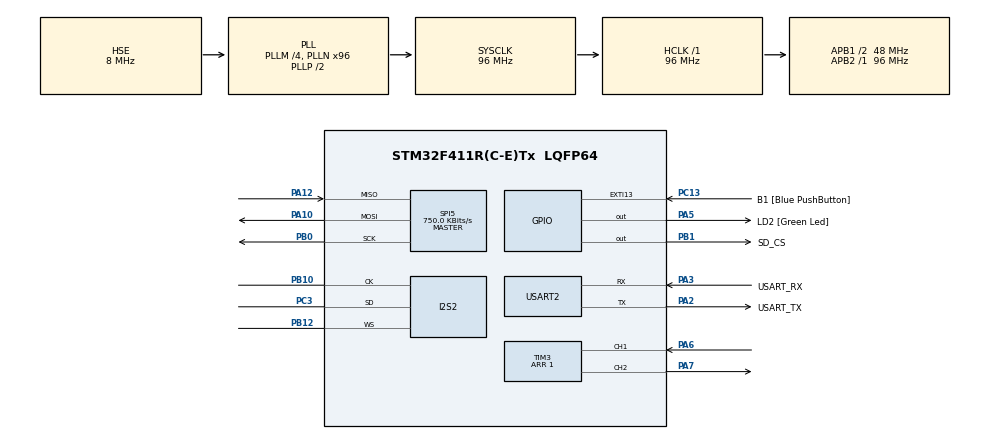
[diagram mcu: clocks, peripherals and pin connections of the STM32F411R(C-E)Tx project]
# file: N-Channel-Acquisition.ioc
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Dma.Request0=SPI2_RX
Dma.SPI2_RX.0.Direction=DMA_PERIPH_TO_MEMORY
Dma.SPI2_RX.0.FIFOMode=DMA_FIFOMODE_DISABLE
Dma.SPI2_RX.0.Instance=DMA1_Stream3
Dma.SPI2_RX.0.MemDataAlignment=DMA_MDATAALIGN_HALFWORD
Dma.SPI2_RX.0.MemInc=DMA_MINC_ENABLE
Dma.SPI2_RX.0.Mode=DMA_CIRCULAR
Dma.SPI2_RX.0.PeriphDataAlignment=DMA_PDATAALIGN_HALFWORD
Dma.SPI2_RX.0.PeriphInc=DMA_PINC_DISABLE
Dma.SPI2_RX.0.Priority=DMA_PRIORITY_HIGH
I2S2.AudioFreq=I2S_AUDIOFREQ_48K
I2S2.DataFormat=I2S_DATAFORMAT_16B_EXTENDED
I2S2.ErrorAudioFreq=-0.01 %
I2S2.FullDuplexMode=I2S_FULLDUPLEXMODE_DISABLE
I2S2.Instance=SPI$Index
I2S2.Mode=I2S_MODE_MASTER_RX
I2S2.RealAudioFreq=47.991 KHz
I2S2.Standard=I2S_STANDARD_MSB
I2S2.VirtualMode=I2S_MODE_MASTER
Mcu.Family=STM32F4
Mcu.Name=STM32F411R(C-E)Tx
Mcu.Package=LQFP64
NVIC.DMA1_Stream3_IRQn=true\:0\:0\:false\:false\:true\:false\:true\:true
NVIC.EXTI15_10_IRQn=true\:0\:0\:false\:false\:true\:true\:true\:true
NVIC.PriorityGroup=NVIC_PRIORITYGROUP_0
PA10.Mode=Full_Duplex_Master
PA10.Signal=SPI5_MOSI
PA12.Mode=Full_Duplex_Master
PA12.Signal=SPI5_MISO
PA13.GPIO_Label=TMS
PA13.Mode=Serial_Wire
PA13.Signal=SYS_JTMS-SWDIO
PA14.GPIO_Label=TCK
PA14.Mode=Serial_Wire
PA14.Signal=SYS_JTCK-SWCLK
PA2.GPIO_Label=USART_TX
PA2.Mode=Asynchronous
PA2.Signal=USART2_TX
PA3.GPIO_Label=USART_RX
PA3.Mode=Asynchronous
PA3.Signal=USART2_RX
PA5.GPIO_Label=LD2 [Green Led]
PA5.Signal=GPIO_Output
PA6.Signal=S_TIM3_CH1
PA7.Signal=S_TIM3_CH2
PB0.Mode=Full_Duplex_Master
PB0.Signal=SPI5_SCK
PB1.GPIO_Label=SD_CS
PB1.Signal=GPIO_Output
PB10.Mode=Half_Duplex_Master
PB10.Signal=I2S2_CK
PB12.Mode=Half_Duplex_Master
PB12.Signal=I2S2_WS
PB3.GPIO_Label=SWO
PB3.Signal=SYS_JTDO-SWO
PC13-ANTI_TAMP.GPIO_Label=B1 [Blue PushButton]
PC13-ANTI_TAMP.GPIO_ModeDefaultEXTI=GPIO_MODE_IT_RISING
PC13-ANTI_TAMP.Signal=GPXTI13
PC14-OSC32_IN.Mode=LSE-External-Oscillator
PC14-OSC32_IN.Signal=RCC_OSC32_IN
PC15-OSC32_OUT.Mode=LSE-External-Oscillator
PC15-OSC32_OUT.Signal=RCC_OSC32_OUT
PC3.Mode=Half_Duplex_Master
PC3.Signal=I2S2_SD
PDM2PCM.NbCHANNEL=1
PH0\ -\ OSC_IN.Mode=HSE-External-Clock-Source
PH0\ -\ OSC_IN.Signal=RCC_OSC_IN
PH1\ -\ OSC_OUT.Mode=HSE-External-Clock-Source
PH1\ -\ OSC_OUT.Signal=RCC_OSC_OUT
ProjectManager.HeapSize=0x200
ProjectManager.StackSize=0x400
ProjectManager.TargetToolchain=STM32CubeIDE
RCC.48MHZClocksFreq_Value=48000000
RCC.AHBFreq_Value=96000000
RCC.APB1CLKDivider=RCC_HCLK_DIV2
RCC.APB1Freq_Value=48000000
RCC.APB1TimFreq_Value=96000000
RCC.APB2Freq_Value=96000000
RCC.APB2TimFreq_Value=96000000
RCC.CortexFreq_Value=96000000
RCC.FLatency-AdvancedSettings=FLASH_LATENCY_3
RCC.HCLKFreq_Value=96000000
RCC.HSE_VALUE=8000000
RCC.HSI_VALUE=16000000
RCC.PLLI2SM=7
RCC.PLLI2SN=344
RCC.PLLI2SR=4
RCC.PLLM=4
RCC.PLLN=96
RCC.PLLSourceVirtual=RCC_PLLSOURCE_HSE
RCC.SYSCLKFreq_VALUE=96000000
RCC.SYSCLKSource=RCC_SYSCLKSOURCE_PLLCLK
RCC.VCOOutputFreq_Value=192000000
SH.S_TIM3_CH1.0=TIM3_CH1,TriggerSource_TI1FP1
SH.S_TIM3_CH2.0=TIM3_CH2,PWM Generation2 CH2
SPI5.BaudRatePrescaler=SPI_BAUDRATEPRESCALER_128
SPI5.CalculateBaudRate=750.0 KBits/s
SPI5.Direction=SPI_DIRECTION_2LINES
SPI5.Mode=SPI_MODE_MASTER
SPI5.VirtualType=VM_MASTER
TIM3.Channel-PWM\ Generation2\ CH2=TIM_CHANNEL_2
TIM3.Period=1
TIM3.Pulse-PWM\ Generation2\ CH2=1
USART2.VirtualMode=VM_ASYNC
VP_CRC_VS_CRC.Mode=CRC_Activate
VP_FATFS_VS_Generic.Mode=User_defined
VP_PDM2PCM_VS_PDM2PCM.Mode=PDM2PCM_Channel
VP_TIM3_VS_ControllerModeClock.Mode=Clock Mode
board=NUCLEO-F411RE

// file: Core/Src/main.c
/* USER CODE BEGIN Header */
/**
  ******************************************************************************
  * @file           : main.c
  * @brief          : Main program body
  ******************************************************************************
  * @attention
  *
  * Copyright (c) 2024 STMicroelectronics.
  * All rights reserved.
  *
  * This software is licensed under terms that can be found in the LICENSE file
  * in the root directory of this software component.
  * If no LICENSE file comes with this software, it is provided AS-IS.
  *
  ******************************************************************************
  */
/* USER CODE END Header */
#include "main.h"
#include "fatfs.h"
#include "pdm2pcm.h"

/* USER CODE BEGIN Includes */
#include "stdio.h"
#include <string.h>
#include <stdarg.h> //for va_list var arg functions
#include <audio_sd.h>
/* USER CODE END Includes */

/* USER CODE BEGIN PM */
#define NUM_AUDIO_IN_CHANNELS 2 //TODO: Change when switching to SAI
#define CHANNEL_DEMUX_MASK                    	0x55U
/* USER CODE END PM */

CRC_HandleTypeDef hcrc;

I2S_HandleTypeDef hi2s2;
DMA_HandleTypeDef hdma_spi2_rx;

SPI_HandleTypeDef hspi5;

TIM_HandleTypeDef htim3;

UART_HandleTypeDef huart2;

/* USER CODE BEGIN PV */
int32_t CONVERT_AUDIO_IN_PDMToPCM(uint16_t *PDMBuf, uint16_t *PCMBuf);
//uint16_t PDM_Buffer[((((AUDIO_IN_CHANNELS * AUDIO_IN_SAMPLING_FREQUENCY) / 1000) * MAX_DECIMATION_FACTOR) / 16)* N_MS ];
uint16_t dataIn_PDM[NUM_AUDIO_IN_CHANNELS * 48* 8]; //TODO: change 16 to 48 and maybe 8 to 4
uint16_t processedData[NUM_AUDIO_IN_CHANNELS * 48]; //out from pdm2pcm
static uint16_t I2S_InternalBuffer[768]; //holder before data is interleaved

volatile uint16_t sample_i2s;
volatile uint16_t myData; //debug variable for console

volatile int8_t half_i2s, full_i2s; //TODO: check
volatile uint8_t button_flag, start_stop_recording;

uint32_t pcmErr = 0;

//BlackMagic
static uint8_t Channel_Demux[128] = {
  0x00, 0x01, 0x00, 0x01, 0x02, 0x03, 0x02, 0x03,
  0x00, 0x01, 0x00, 0x01, 0x02, 0x03, 0x02, 0x03,
  0x04, 0x05, 0x04, 0x05, 0x06, 0x07, 0x06, 0x07,
  0x04, 0x05, 0x04, 0x05, 0x06, 0x07, 0x06, 0x07,
  0x00, 0x01, 0x00, 0x01, 0x02, 0x03, 0x02, 0x03,
  0x00, 0x01, 0x00, 0x01, 0x02, 0x03, 0x02, 0x03,
  0x04, 0x05, 0x04, 0x05, 0x06, 0x07, 0x06, 0x07,
  0x04, 0x05, 0x04, 0x05, 0x06, 0x07, 0x06, 0x07,
  0x08, 0x09, 0x08, 0x09, 0x0a, 0x0b, 0x0a, 0x0b,
  0x08, 0x09, 0x08, 0x09, 0x0a, 0x0b, 0x0a, 0x0b,
  0x0c, 0x0d, 0x0c, 0x0d, 0x0e, 0x0f, 0x0e, 0x0f,
  0x0c, 0x0d, 0x0c, 0x0d, 0x0e, 0x0f, 0x0e, 0x0f,
  0x08, 0x09, 0x08, 0x09, 0x0a, 0x0b, 0x0a, 0x0b,
  0x08, 0x09, 0x08, 0x09, 0x0a, 0x0b, 0x0a, 0x0b,
  0x0c, 0x0d, 0x0c, 0x0d, 0x0e, 0x0f, 0x0e, 0x0f,
  0x0c, 0x0d, 0x0c, 0x0d, 0x0e, 0x0f, 0x0e, 0x0f
};

/* USER CODE END PV */

void SystemClock_Config(void);
static void MX_GPIO_Init(void);
static void MX_DMA_Init(void);
static void MX_USART2_UART_Init(void);
static void MX_I2S2_Init(void);
static void MX_CRC_Init(void);
static void MX_SPI5_Init(void);
static void MX_TIM3_Init(void);
/* USER CODE BEGIN PFP */
void myprintf(const char *fmt, ...);
/* USER CODE END PFP */

/* USER CODE BEGIN 0 */
void myprintf(const char *fmt, ...) {
  static char buffer[256];
  va_list args;
  va_start(args, fmt);
  vsnprintf(buffer, sizeof(buffer), fmt, args);
  va_end(args);

  int len = strlen(buffer);
  HAL_UART_Transmit(&huart2, (uint8_t*)buffer, len, -1);
}
/* USER CODE END 0 */

int main(void)
{

  /* MCU Configuration--------------------------------------------------------*/

  /* Reset of all peripherals, Initializes the Flash interface and the Systick. */
  HAL_Init();

  /* Configure the system clock */
  SystemClock_Config();

  /* Initialize all configured peripherals */
  MX_GPIO_Init();
  MX_DMA_Init();
  MX_USART2_UART_Init();
  MX_I2S2_Init();
  MX_CRC_Init();
  MX_PDM2PCM_Init();
  MX_SPI5_Init();
  MX_FATFS_Init();
  MX_TIM3_Init();
  /* USER CODE BEGIN 2 */
  //HAL_I2S_DMAStop(&hi2s2); //size in bytes so we divide by 2 TODO:check
  //HAL_I2S_Receive_DMA(&hi2s2, (uint16_t *)dataIn_PDM, sizeof(dataIn_PDM)/2);
  HAL_Delay(1000);
  /*BELOW ADDED FOR SD_CARD*/
  sd_card_init();
  //PDM_Filter(&dataIn_PDM[0], &processedData[0], &PDM1_filter_handler);
  //dump_audio_content((uint8_t*)processedData, WAV_WRITE_SAMPLE_COUNT);
  //sd_demo();
  /* USER CODE END 2 */

  /* Infinite loop */
  /* USER CODE BEGIN WHILE */
  while (1)
  {
//	  printf("Hello World \n");
//	  HAL_GPIO_TogglePin(LD2_GPIO_Port, LD2_Pin);
//	  HAL_Delay(1000);
	  if(button_flag)
	  {
		  HAL_GPIO_TogglePin(LD2_GPIO_Port, LD2_Pin);
		  if(start_stop_recording) { //1
			  if (HAL_I2S_DMAStop(&hi2s2) != HAL_OK) {
				 myprintf("Big error in recording");
			  }
			  start_stop_recording = 0;
			  stop_recording();
			  half_i2s = 0;
			  full_i2s = 0;
			  printf("stop recording \n");
			  myprintf("Stop recording \n");
		  }
		  else {
			  start_stop_recording = 1;
			  start_recording(I2S_AUDIOFREQ_48K);
			  printf("start recording \n");
			  myprintf("Start recording \n");
			  myprintf("start_recording %d and %d\n", half_i2s, full_i2s);
			  uint32_t myArrSize = sizeof(dataIn_PDM);
			  myprintf("The size of my array is: %i", myArrSize);
			  //HAL_I2S_Receive_DMA(&hi2s2, (uint16_t *)dataIn_PDM, sizeof(dataIn_PDM)/2);
			  //CHECK: AudioInCtx[Instance].Size = (PDM_Clock_Freq/8U) * 2U * N_MS_PER_INTERRUPT;
			  if (HAL_I2S_Receive_DMA(&hi2s2, &I2S_InternalBuffer[0], (uint16_t)768/2U) != HAL_OK) {
				  myprintf("Big error in DMA");
			  }
		  }
		  button_flag = 0;
	  }
	  //myprintf("PDM Data is: %x", dataIn_PDM[0]);
	  if(start_stop_recording == 1 && half_i2s == 1) {
//		  PDM_Filter(&dataIn_PDM[0], &processedData[0], &PDM1_filter_handler);
//		  myData = processedData[0];
		  half_i2s = 0;
		  CONVERT_AUDIO_IN_PDMToPCM((uint16_t *)dataIn_PDM, processedData);
		  dump_audio_content((uint8_t*)processedData, WAV_WRITE_SAMPLE_COUNT);
		  //myprintf("audio dumped!");

	  }
	  if(start_stop_recording == 1 && full_i2s == 1) {
//		  PDM_Filter(&dataIn_PDM[0], &processedData[0], &PDM1_filter_handler);
//		  myData = processedData[0];
		  full_i2s = 0;
		  CONVERT_AUDIO_IN_PDMToPCM((uint16_t *)dataIn_PDM, processedData);
		  dump_audio_content((uint8_t*)processedData + WAV_WRITE_SAMPLE_COUNT, WAV_WRITE_SAMPLE_COUNT);

	  }
  }
    /* USER CODE END WHILE */

}

void SystemClock_Config(void)
{
  RCC_OscInitTypeDef RCC_OscInitStruct = {0};
  RCC_ClkInitTypeDef RCC_ClkInitStruct = {0};

  /** Configure the main internal regulator output voltage
  */
  __HAL_RCC_PWR_CLK_ENABLE();
  __HAL_PWR_VOLTAGESCALING_CONFIG(PWR_REGULATOR_VOLTAGE_SCALE1);

  /** Initializes the RCC Oscillators according to the specified parameters
  * in the RCC_OscInitTypeDef structure.
  */
  RCC_OscInitStruct.OscillatorType = RCC_OSCILLATORTYPE_HSE;
  RCC_OscInitStruct.HSEState = RCC_HSE_BYPASS;
  RCC_OscInitStruct.PLL.PLLState = RCC_PLL_ON;
  RCC_OscInitStruct.PLL.PLLSource = RCC_PLLSOURCE_HSE;
  RCC_OscInitStruct.PLL.PLLM = 4;
  RCC_OscInitStruct.PLL.PLLN = 96;
  RCC_OscInitStruct.PLL.PLLP = RCC_PLLP_DIV2;
  RCC_OscInitStruct.PLL.PLLQ = 4;
  if (HAL_RCC_OscConfig(&RCC_OscInitStruct) != HAL_OK)
  {
    Error_Handler();
  }

  /** Initializes the CPU, AHB and APB buses clocks
  */
  RCC_ClkInitStruct.ClockType = RCC_CLOCKTYPE_HCLK|RCC_CLOCKTYPE_SYSCLK
                              |RCC_CLOCKTYPE_PCLK1|RCC_CLOCKTYPE_PCLK2;
  RCC_ClkInitStruct.SYSCLKSource = RCC_SYSCLKSOURCE_PLLCLK;
  RCC_ClkInitStruct.AHBCLKDivider = RCC_SYSCLK_DIV1;
  RCC_ClkInitStruct.APB1CLKDivider = RCC_HCLK_DIV2;
  RCC_ClkInitStruct.APB2CLKDivider = RCC_HCLK_DIV1;

  if (HAL_RCC_ClockConfig(&RCC_ClkInitStruct, FLASH_LATENCY_3) != HAL_OK)
  {
    Error_Handler();
  }
}

static void MX_CRC_Init(void)
{

  hcrc.Instance = CRC;
  if (HAL_CRC_Init(&hcrc) != HAL_OK)
  {
    Error_Handler();
  }
  __HAL_CRC_DR_RESET(&hcrc);

}

static void MX_I2S2_Init(void)
{

  hi2s2.Instance = SPI2;
  hi2s2.Init.Mode = I2S_MODE_MASTER_RX;
  hi2s2.Init.Standard = I2S_STANDARD_MSB;
  hi2s2.Init.DataFormat = I2S_DATAFORMAT_16B_EXTENDED;
  hi2s2.Init.MCLKOutput = I2S_MCLKOUTPUT_DISABLE;
  hi2s2.Init.AudioFreq = I2S_AUDIOFREQ_48K;
  hi2s2.Init.CPOL = I2S_CPOL_LOW;
  hi2s2.Init.ClockSource = I2S_CLOCK_PLL;
  hi2s2.Init.FullDuplexMode = I2S_FULLDUPLEXMODE_DISABLE;
  if (HAL_I2S_Init(&hi2s2) != HAL_OK)
  {
    Error_Handler();
  }

}

static void MX_SPI5_Init(void)
{

  /* SPI5 parameter configuration*/
  hspi5.Instance = SPI5;
  hspi5.Init.Mode = SPI_MODE_MASTER;
  hspi5.Init.Direction = SPI_DIRECTION_2LINES;
  hspi5.Init.DataSize = SPI_DATASIZE_8BIT;
  hspi5.Init.CLKPolarity = SPI_POLARITY_LOW;
  hspi5.Init.CLKPhase = SPI_PHASE_1EDGE;
  hspi5.Init.NSS = SPI_NSS_SOFT;
  hspi5.Init.BaudRatePrescaler = SPI_BAUDRATEPRESCALER_128;
  hspi5.Init.FirstBit = SPI_FIRSTBIT_MSB;
  hspi5.Init.TIMode = SPI_TIMODE_DISABLE;
  hspi5.Init.CRCCalculation = SPI_CRCCALCULATION_DISABLE;
  hspi5.Init.CRCPolynomial = 10;
  if (HAL_SPI_Init(&hspi5) != HAL_OK)
  {
    Error_Handler();
  }

}

static void MX_TIM3_Init(void)
{

  TIM_SlaveConfigTypeDef sSlaveConfig = {0};
  TIM_MasterConfigTypeDef sMasterConfig = {0};
  TIM_OC_InitTypeDef sConfigOC = {0};

  htim3.Instance = TIM3;
  htim3.Init.Prescaler = 0;
  htim3.Init.CounterMode = TIM_COUNTERMODE_UP;
  htim3.Init.Period = 1;
  htim3.Init.ClockDivision = TIM_CLOCKDIVISION_DIV1;
  htim3.Init.AutoReloadPreload = TIM_AUTORELOAD_PRELOAD_DISABLE;
  if (HAL_TIM_Base_Init(&htim3) != HAL_OK)
  {
    Error_Handler();
  }
  if (HAL_TIM_PWM_Init(&htim3) != HAL_OK)
  {
    Error_Handler();
  }
  sSlaveConfig.SlaveMode = TIM_SLAVEMODE_EXTERNAL1;
  sSlaveConfig.InputTrigger = TIM_TS_TI1FP1;
  sSlaveConfig.TriggerPolarity = TIM_TRIGGERPOLARITY_RISING;
  sSlaveConfig.TriggerFilter = 0;
  if (HAL_TIM_SlaveConfigSynchro(&htim3, &sSlaveConfig) != HAL_OK)
  {
    Error_Handler();
  }
  sMasterConfig.MasterOutputTrigger = TIM_TRGO_RESET;
  sMasterConfig.MasterSlaveMode = TIM_MASTERSLAVEMODE_DISABLE;
  if (HAL_TIMEx_MasterConfigSynchronization(&htim3, &sMasterConfig) != HAL_OK)
  {
    Error_Handler();
  }
  sConfigOC.OCMode = TIM_OCMODE_PWM1;
  sConfigOC.Pulse = 1;
  sConfigOC.OCPolarity = TIM_OCPOLARITY_HIGH;
  sConfigOC.OCFastMode = TIM_OCFAST_DISABLE;
  if (HAL_TIM_PWM_ConfigChannel(&htim3, &sConfigOC, TIM_CHANNEL_2) != HAL_OK)
  {
    Error_Handler();
  }
  HAL_TIM_MspPostInit(&htim3);

}

static void MX_USART2_UART_Init(void)
{

  huart2.Instance = USART2;
  huart2.Init.BaudRate = 115200;
  huart2.Init.WordLength = UART_WORDLENGTH_8B;
  huart2.Init.StopBits = UART_STOPBITS_1;
  huart2.Init.Parity = UART_PARITY_NONE;
  huart2.Init.Mode = UART_MODE_TX_RX;
  huart2.Init.HwFlowCtl = UART_HWCONTROL_NONE;
  huart2.Init.OverSampling = UART_OVERSAMPLING_16;
  if (HAL_UART_Init(&huart2) != HAL_OK)
  {
    Error_Handler();
  }

}

static void MX_DMA_Init(void)
{

  /* DMA controller clock enable */
  __HAL_RCC_DMA1_CLK_ENABLE();

  /* DMA interrupt init */
  /* DMA1_Stream3_IRQn interrupt configuration */
  HAL_NVIC_SetPriority(DMA1_Stream3_IRQn, 0, 0);
  HAL_NVIC_EnableIRQ(DMA1_Stream3_IRQn);

}

static void MX_GPIO_Init(void)
{
  GPIO_InitTypeDef GPIO_InitStruct = {0};

  /* GPIO Ports Clock Enable */
  __HAL_RCC_GPIOC_CLK_ENABLE();
  __HAL_RCC_GPIOH_CLK_ENABLE();
  __HAL_RCC_GPIOA_CLK_ENABLE();
  __HAL_RCC_GPIOB_CLK_ENABLE();

  /*Configure GPIO pin Output Level */
  HAL_GPIO_WritePin(LD2_GPIO_Port, LD2_Pin, GPIO_PIN_RESET);

  /*Configure GPIO pin Output Level */
  HAL_GPIO_WritePin(SD_CS_GPIO_Port, SD_CS_Pin, GPIO_PIN_RESET);

  /*Configure GPIO pin : B1_Pin */
  GPIO_InitStruct.Pin = B1_Pin;
  GPIO_InitStruct.Mode = GPIO_MODE_IT_RISING;
  GPIO_InitStruct.Pull = GPIO_NOPULL;
  HAL_GPIO_Init(B1_GPIO_Port, &GPIO_InitStruct);

  /*Configure GPIO pin : LD2_Pin */
  GPIO_InitStruct.Pin = LD2_Pin;
  GPIO_InitStruct.Mode = GPIO_MODE_OUTPUT_PP;
  GPIO_InitStruct.Pull = GPIO_NOPULL;
  GPIO_InitStruct.Speed = GPIO_SPEED_FREQ_LOW;
  HAL_GPIO_Init(LD2_GPIO_Port, &GPIO_InitStruct);

  /*Configure GPIO pin : SD_CS_Pin */
  GPIO_InitStruct.Pin = SD_CS_Pin;
  GPIO_InitStruct.Mode = GPIO_MODE_OUTPUT_PP;
  GPIO_InitStruct.Pull = GPIO_NOPULL;
  GPIO_InitStruct.Speed = GPIO_SPEED_FREQ_LOW;
  HAL_GPIO_Init(SD_CS_GPIO_Port, &GPIO_InitStruct);

  /* EXTI interrupt init*/
  HAL_NVIC_SetPriority(EXTI15_10_IRQn, 0, 0);
  HAL_NVIC_EnableIRQ(EXTI15_10_IRQn);

}

/* USER CODE BEGIN 4 */
int _write(int file, char *ptr, int len) {

	for (int DataIdx = 0; DataIdx < len; DataIdx++) {
		ITM_SendChar(*ptr++);
	}
	return len;
}

void HAL_I2S_RxCpltCallback(I2S_HandleTypeDef *hi2s) {
//	//sample_i2s = dataIn_PDM[0];
//	pcmErr = PDM_Filter(&dataIn_PDM[0], &processedData[0], &PDM1_filter_handler);
//	if (pcmErr != 0) {
//		myprintf("Error is: %i", pcmErr);
//	}
//
//	//MX_PDM2PCM_Process(&data_i2s[0], &processedData[0]);
//	myData = processedData[0];
//	full_i2s = 1;
	//myprintf("Reached Callback");
	uint32_t index;
	uint16_t * DataTempI2S = &(I2S_InternalBuffer[768/2U]);
  uint8_t a,b;
  for(index=0; index<(768/2U); index++)
  {
	  a = ((uint8_t *)(DataTempI2S))[(index*2U)];
	 b = ((uint8_t *)(DataTempI2S))[(index*2U)+1U];
	 ((uint8_t *)(dataIn_PDM))[(index*2U)] = Channel_Demux[a & CHANNEL_DEMUX_MASK] | (Channel_Demux[b & CHANNEL_DEMUX_MASK] << 4);;
	 ((uint8_t *)(dataIn_PDM))[(index*2U)+1U] = Channel_Demux[(a>>1) & CHANNEL_DEMUX_MASK] | (Channel_Demux[(b>>1) & CHANNEL_DEMUX_MASK] << 4);
  }
  full_i2s = 1;
  myData = processedData[0];
}

void HAL_I2S_RxHalfCpltCallback(I2S_HandleTypeDef *hi2s) {
	//sample_i2s = dataIn_PDM[0];
//	pcmErr = PDM_Filter(&dataIn_PDM[0], &processedData[0], &PDM1_filter_handler);
//	if (pcmErr != 0) {
//			myprintf("Error is: %i", pcmErr);
//	}
//	myData = processedData[0];
//	half_i2s = 1;
	uint32_t index;
	uint16_t * DataTempI2S = I2S_InternalBuffer;
  uint8_t a,b;
  for(index=0; index<384; index++)
  {
	a = ((uint8_t *)(DataTempI2S))[(index*2U)];
	b = ((uint8_t *)(DataTempI2S))[(index*2U)+1U];
	((uint8_t *)(dataIn_PDM))[(index*2U)] = Channel_Demux[a & CHANNEL_DEMUX_MASK] |
	  (Channel_Demux[b & CHANNEL_DEMUX_MASK] << 4);;
	  ((uint8_t *)(dataIn_PDM))[(index*2U)+1U] = Channel_Demux[(a>>1) & CHANNEL_DEMUX_MASK] |
		(Channel_Demux[(b>>1) & CHANNEL_DEMUX_MASK] << 4);
  }
  myData = processedData[0];
  half_i2s = 1;
}

//TODO: might need different filter handlers
int32_t CONVERT_AUDIO_IN_PDMToPCM(uint16_t *PDMBuf, uint16_t *PCMBuf) {
	uint32_t index;
	for(index = 0; index < NUM_AUDIO_IN_CHANNELS; index++) {
		(void)PDM_Filter(&((uint8_t*)(PDMBuf))[index], (uint16_t*)&(PCMBuf[index]), &PDM1_filter_handler);
	}
	return 1;
}

void HAL_GPIO_EXTI_Callback(uint16_t GPIO_Pin) {
	if(GPIO_Pin == B1_Pin) {
		button_flag = 1;
	}
}
/* USER CODE END 4 */

void Error_Handler(void)
{
  __disable_irq();
  while (1)
  {
  }
}
